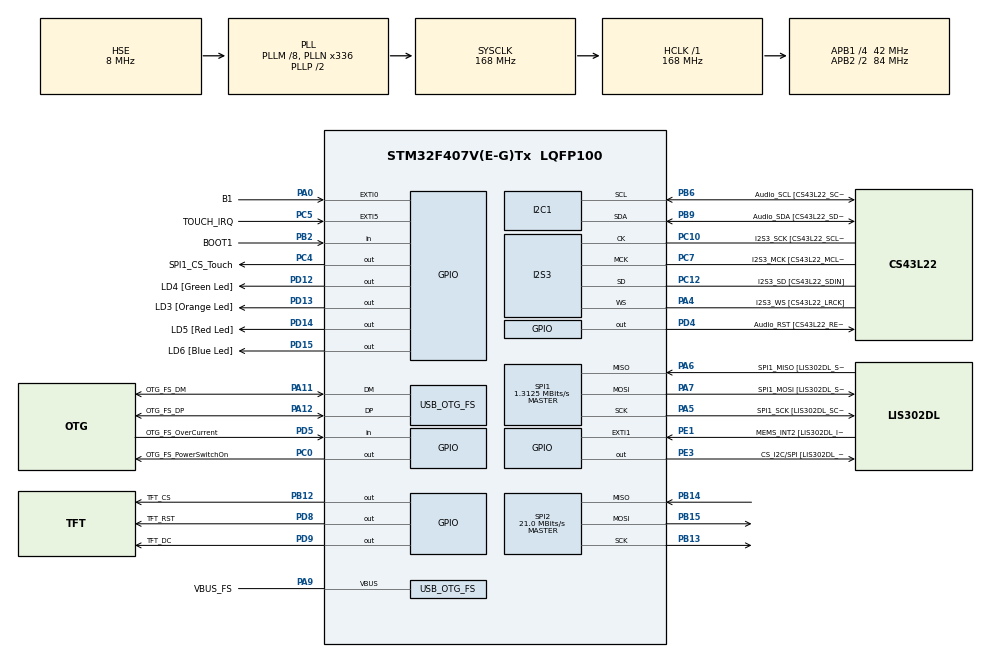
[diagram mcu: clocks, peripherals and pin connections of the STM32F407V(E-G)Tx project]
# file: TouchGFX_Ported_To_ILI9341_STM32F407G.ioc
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PA11.GPIO_Speed=GPIO_SPEED_FREQ_LOW
PD12.GPIO_Label=LD4 [Green Led]
PH0-OSC_IN.Signal=RCC_OSC_IN
PC10.GPIO_PuPd=GPIO_NOPULL
FATFS._USE_LFN=1
SPI1.VirtualType=VM_MASTER
PB10.GPIO_PuPd=GPIO_NOPULL
SPI2.VirtualType=VM_MASTER
PA10.GPIO_PuPd=GPIO_NOPULL
PC12.Signal=I2S3_SD
PA14.GPIO_Label=SWCLK
PA6.GPIO_Label=SPI1_MISO [LIS302DL_SDO]
PB6.GPIO_Label=Audio_SCL [CS43L22_SCL]
PB13.Signal=SPI2_SCK
PC15-OSC32_OUT.GPIO_Label=PC15-OSC32_OUT
Dma.SPI2_TX.0.Instance=DMA1_Stream4
PC3.GPIO_Speed=GPIO_SPEED_FREQ_LOW
RCC.SYSCLKSource=RCC_SYSCLKSOURCE_PLLCLK
PA6.GPIO_Mode=GPIO_MODE_AF_PP
PD14.GPIO_Speed=GPIO_SPEED_FREQ_LOW
PA4.Mode=Half_Duplex_Master
SPI1.Direction=SPI_DIRECTION_2LINES
I2S3.AudioFreq-Half_Duplex_Master=I2S_AUDIOFREQ_96K
PD4.Signal=GPIO_Output
RCC.APB2TimFreq_Value=168000000
PB6.Signal=I2C1_SCL
PC7.Signal=I2S3_MCK
PB6.Mode=I2C
SPI1.CalculateBaudRate=1.3125 MBits/s
PC3.Signal=I2S2_SD
PD8.Signal=GPIO_Output
PE1.Signal=GPXTI1
USB_OTG_FS.phy_itface=HCD_PHY_EMBEDDED
PB2.Signal=GPIO_Input
PB12.GPIO_Label=TFT_CS
I2S3.ErrorAudioFreq=-2.34 %
PC4.GPIO_Label=SPI1_CS_Touch
PB14.Mode=Full_Duplex_Master
PA5.GPIO_PuPd=GPIO_NOPULL
I2S3.ErrorAudioFreq-Half_Duplex_Master=0.8 %
NVIC.TIM2_IRQn=true\:0\:0\:false\:false\:true\:true\:true
SPI2.CalculateBaudRate=21.0 MBits/s
PD5.GPIO_Mode=GPIO_MODE_INPUT
PD14.GPIO_PuPd=GPIO_NOPULL
PB2.GPIO_PuPd=GPIO_NOPULL
SPI1.CalculateBaudRate-Full_Duplex_Master=42.0 MBits/s
Mcu.Package=LQFP100
PB9.Signal=I2C1_SDA
TIM2.Prescaler=41999
SPI2.Mode=SPI_MODE_MASTER
PD12.Signal=GPIO_Output
STMicroelectronics.X-CUBE-TOUCHGFX.4.16.1.ApplicationCcGraphicsJjApplication=TouchGFXOoGenerator
PA10.Signal=USB_OTG_FS_ID
PB9.GPIO_PuPd=GPIO_NOPULL
Dma.SPI2_TX.0.PeriphInc=DMA_PINC_DISABLE
RCC.APB2CLKDivider=RCC_HCLK_DIV2
RCC.APB1TimFreq_Value=84000000
PB13.Mode=Full_Duplex_Master
PC12.GPIO_PuPd=GPIO_NOPULL
PA6.GPIO_Speed=GPIO_SPEED_FREQ_LOW
PA12.GPIO_PuPd=GPIO_NOPULL
VP_LIBJPEG_VS_JPEGLIB.Mode=Enabled
PA4.GPIO_Label=I2S3_WS [CS43L22_LRCK]
PD15.Signal=GPIO_Output
PC0.PinState=GPIO_PIN_SET
STMicroelectronics.X-CUBE-TOUCHGFX.4.16.1.tgfx_block_size=25600
PA5.Mode=Full_Duplex_Master
VP_STMicroelectronics.X-CUBE-TOUCHGFX_VS_GraphicsJjApplication_4.16.1.Mode=GraphicsJjApplication
STMicroelectronics.X-CUBE-TOUCHGFX.4.16.1.tgfx_custom_height=240
I2S3.FullDuplexMode=I2S_FULLDUPLEXMODE_DISABLE
PD9.GPIO_Label=TFT_DC
PC4.PinState=GPIO_PIN_SET
PA9.GPIO_Label=VBUS_FS
PB6.GPIO_PuPd=GPIO_NOPULL
VP_USB_HOST_VS_USB_HOST_MSC_FS.Mode=MSC_FS
PA11.GPIO_Label=OTG_FS_DM
PE1.GPIO_PuPd=GPIO_NOPULL
PC0.Signal=GPIO_Output
RCC.APB1CLKDivider=RCC_HCLK_DIV4
PC14-OSC32_IN.Signal=RCC_OSC32_IN
USB_HOST.USBH_HandleTypeDef-MSC_FS=hUsbHostFS
PA0-WKUP.GPIO_Label=B1
PA0-WKUP.Signal=GPXTI0
USB_HOST0.BSP.STBoard=false
PC10.GPIO_Mode=GPIO_MODE_AF_PP
PB10.GPIO_Mode=GPIO_MODE_AF_PP
PA9.Signal=USB_OTG_FS_VBUS
I2S3.VirtualMode=I2S_MODE_MASTER
PC7.GPIO_PuPd=GPIO_NOPULL
PC5.GPIO_ModeDefaultEXTI=GPIO_MODE_IT_FALLING
PB10.Signal=I2S2_CK
PB14.Signal=SPI2_MISO
PA5.Signal=SPI1_SCK
PC12.Mode=Half_Duplex_Master
PE1.GPIO_Label=MEMS_INT2 [LIS302DL_INT2]
USB_HOST.VirtualModeFS=Msc
PA7.GPIO_Speed=GPIO_SPEED_FREQ_LOW
PB2.GPIO_Mode=GPIO_MODE_INPUT
SPI1.Mode=SPI_MODE_MASTER
PD4.GPIO_Speed=GPIO_SPEED_FREQ_LOW
PE3.GPIO_PuPd=GPIO_NOPULL
PH1-OSC_OUT.GPIO_Label=PH1-OSC_OUT
TIM2.Period=15
FATFS._USE_FIND=1
PA13.Mode=Serial_Wire
Dma.SPI2_TX.0.FIFOMode=DMA_FIFOMODE_DISABLE
PC7.GPIO_Label=I2S3_MCK [CS43L22_MCLK]
PA4.Signal=I2S3_WS
PC12.GPIO_Mode=GPIO_MODE_AF_PP
PA5.GPIO_Label=SPI1_SCK [LIS302DL_SCL/SPC]
PE3.GPIO_Speed=GPIO_SPEED_FREQ_LOW
PC12.GPIO_Label=I2S3_SD [CS43L22_SDIN]
PA11.Signal=USB_OTG_FS_DM
ProjectManager.HeapSize=0x1000
NVIC.PriorityGroup=NVIC_PRIORITYGROUP_0
PE3.Signal=GPIO_Output
PC3.GPIO_Label=PDM_OUT [MP45DT02_DOUT]
I2S3.Instance=SPI$Index
PB6.GPIO_Speed=GPIO_SPEED_FREQ_LOW
SPI1.BaudRatePrescaler-Full_Duplex_Master=SPI_BAUDRATEPRESCALER_2
USB_HOST0.BSP.mode=Output
Mcu.Family=STM32F4
PC3.GPIO_Mode=GPIO_MODE_AF_PP
PA6.Mode=Full_Duplex_Master
Dma.SPI2_TX.0.MemInc=DMA_MINC_ENABLE
RCC.CortexFreq_Value=168000000
PB10.GPIO_Speed=GPIO_SPEED_FREQ_LOW
PB6.GPIO_Mode=GPIO_MODE_AF_OD
STMicroelectronics.X-CUBE-TOUCHGFX.4.16.1.tgfx_buffering_strategy=Partial
PD15.GPIO_Speed=GPIO_SPEED_FREQ_LOW
PC10.Signal=I2S3_CK
PA7.GPIO_Mode=GPIO_MODE_AF_PP
PC0.GPIO_Label=OTG_FS_PowerSwitchOn
PA11.Mode=Host_Only
PC10.GPIO_Speed=GPIO_SPEED_FREQ_LOW
PA11.GPIO_PuPd=GPIO_NOPULL
NVIC.DMA1_Stream4_IRQn=true\:0\:0\:false\:true\:true\:2\:false\:true
PB15.Signal=SPI2_MOSI
ProjectManager.StackSize=0x1000
SPI1.Mode-Full_Duplex_Master=SPI_MODE_MASTER
Dma.SPI2_TX.0.MemDataAlignment=DMA_MDATAALIGN_HALFWORD
PD13.Signal=GPIO_Output
PA12.Signal=USB_OTG_FS_DP
RCC.HCLKFreq_Value=168000000
Dma.SPI2_TX.0.Mode=DMA_NORMAL
USB_HOST0.BSP.ip=GPIO
RCC.AHBFreq_Value=168000000
SPI2.BaudRatePrescaler=SPI_BAUDRATEPRESCALER_2
PH0-OSC_IN.Mode=HSE-External-Oscillator
PE3.PinState=GPIO_PIN_SET
PH0-OSC_IN.GPIO_Label=PH0-OSC_IN
PA9.GPIO_Mode=GPIO_MODE_INPUT
RCC.HSE_VALUE=8000000
PA4.GPIO_PuPd=GPIO_NOPULL
PA4.GPIO_Speed=GPIO_SPEED_FREQ_LOW
PA6.GPIO_PuPd=GPIO_NOPULL
PC14-OSC32_IN.Mode=LSE-External-Oscillator
PA14.Mode=Serial_Wire
PA10.GPIO_Label=OTG_FS_ID
PC7.GPIO_Mode=GPIO_MODE_AF_PP
USB_HOST0.BSP.i2creg=0
PH1-OSC_OUT.Mode=HSE-External-Oscillator
USB_HOST0.BSP.i2caddr=0
PD13.GPIO_Label=LD3 [Orange Led]
PA6.Signal=SPI1_MISO
PD5.GPIO_Label=OTG_FS_OverCurrent
NVIC.OTG_FS_IRQn=true\:0\:0\:false\:false\:true\:true\:true
PD15.GPIO_PuPd=GPIO_NOPULL
USB_OTG_FS.VirtualMode=Host_Only
PA10.GPIO_Speed=GPIO_SPEED_FREQ_LOW
USB_HOST0.BSP.name=Drive_VBUS_FS
PB9.GPIO_Speed=GPIO_SPEED_FREQ_LOW
PC14-OSC32_IN.GPIO_Label=PC14-OSC32_IN
SPI2.Direction=SPI_DIRECTION_2LINES
PC5.Signal=GPXTI5
PC0.GPIO_PuPd=GPIO_NOPULL
Dma.Request0=SPI2_TX
SPI1.BaudRatePrescaler=SPI_BAUDRATEPRESCALER_64
PA12.GPIO_Speed=GPIO_SPEED_FREQ_LOW
PB3.GPIO_Label=SWO
PC15-OSC32_OUT.Mode=LSE-External-Oscillator
PD12.GPIO_Speed=GPIO_SPEED_FREQ_LOW
PD15.GPIO_Label=LD6 [Blue Led]
PA7.Mode=Full_Duplex_Master
PB9.GPIO_Label=Audio_SDA [CS43L22_SDA]
PC10.GPIO_Label=I2S3_SCK [CS43L22_SCLK]
USB_HOST0.BSP.solution=PC0
PC4.Signal=GPIO_Output
PC10.Mode=Half_Duplex_Master
USB_HOST.BSP.number=1
PD9.Signal=GPIO_Output
PD5.Signal=GPIO_Input
PE1.GPIO_ModeDefaultEXTI=GPIO_MODE_EVT_RISING
PA9.GPIO_PuPd=GPIO_NOPULL
PA12.GPIO_Label=OTG_FS_DP
PD8.GPIO_Label=TFT_RST
PA10.GPIO_Mode=GPIO_MODE_AF_PP
STMicroelectronics.X-CUBE-TOUCHGFX.4.16.1.tgfx_custom_width=320
PA13.Signal=SYS_JTMS-SWDIO
PD4.GPIO_PuPd=GPIO_NOPULL
PA9.Mode=Activate_VBUS
PC0.GPIO_Speed=GPIO_SPEED_FREQ_LOW
I2S3.RealAudioFreq-Half_Duplex_Master=96.774 KHz
ProjectManager.TargetToolchain=STM32CubeIDE
PB10.GPIO_Label=CLK_IN [MP45DT02_CLK]
PB9.Mode=I2C
PC15-OSC32_OUT.Signal=RCC_OSC32_OUT
PA7.GPIO_PuPd=GPIO_NOPULL
board=STM32F407G-DISC1
PD13.GPIO_Speed=GPIO_SPEED_FREQ_LOW
PC7.GPIO_Speed=GPIO_SPEED_FREQ_LOW
RCC.VCOOutputFreq_Value=336000000
PB15.Mode=Full_Duplex_Master
PB9.GPIO_Mode=GPIO_MODE_AF_OD
PA12.GPIO_Mode=GPIO_MODE_AF_PP
PA4.GPIO_Mode=GPIO_MODE_AF_PP
RCC.APB2Freq_Value=84000000
USB_HOST0.BSP.api=Unknown
VP_TIM2_VS_ClockSourceINT.Mode=Internal
PD4.GPIO_Label=Audio_RST [CS43L22_RESET]
Dma.SPI2_TX.0.PeriphDataAlignment=DMA_PDATAALIGN_HALFWORD
PH1-OSC_OUT.Signal=RCC_OSC_OUT
PD13.GPIO_PuPd=GPIO_NOPULL
PD5.GPIO_PuPd=GPIO_NOPULL
PD14.GPIO_Label=LD5 [Red Led]
Mcu.Name=STM32F407V(E-G)Tx
PA13.GPIO_Label=SWDIO
PD14.Signal=GPIO_Output
RCC.48MHZClocksFreq_Value=48000000
PB3.Signal=SYS_JTDO-SWO
NVIC.EXTI0_IRQn=true\:0\:0\:false\:false\:true\:true\:true
Dma.SPI2_TX.0.Priority=DMA_PRIORITY_LOW
RCC.SYSCLKFreq_VALUE=168000000
PA7.GPIO_Label=SPI1_MOSI [LIS302DL_SDA/SDI/SDO]
PA12.Mode=Host_Only
PC5.GPIO_Label=TOUCH_IRQ
NVIC.EXTI9_5_IRQn=true\:0\:0\:false\:true\:true\:1\:true\:true
PA14.Signal=SYS_JTCK-SWCLK
PB2.GPIO_Label=BOOT1
VP_FATFS_VS_USB.Mode=USB
RCC.HSI_VALUE=16000000
PA5.GPIO_Speed=GPIO_SPEED_FREQ_LOW
RCC.PLLQ=7
I2S3.RealAudioFreq=93.75 KHz
RCC.PLLM=8
RCC.PLLN=336
PE3.GPIO_Label=CS_I2C/SPI [LIS302DL_CS_I2C/SPI]
PC7.Mode=Master_Clock_Activated
PA11.GPIO_Mode=GPIO_MODE_AF_PP
Dma.SPI2_TX.0.Direction=DMA_MEMORY_TO_PERIPH
RCC.APB1Freq_Value=42000000
PA5.GPIO_Mode=GPIO_MODE_AF_PP
PC12.GPIO_Speed=GPIO_SPEED_FREQ_LOW
VP_CRC_VS_CRC.Mode=CRC_Activate
PB12.Signal=GPIO_Output
PC3.GPIO_PuPd=GPIO_NOPULL
PD12.GPIO_PuPd=GPIO_NOPULL
PA7.Signal=SPI1_MOSI
USB_HOST0.BSP.instance=PC0

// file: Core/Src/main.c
/* USER CODE BEGIN Header */
/**
  ******************************************************************************
  * @file           : main.c
  * @brief          : Main program body
  ******************************************************************************
  * @attention
  *
  * <h2><center>&copy; Copyright (c) 2021 STMicroelectronics.
  * All rights reserved.</center></h2>
  *
  * This software component is licensed by ST under Ultimate Liberty license
  * SLA0044, the "License"; You may not use this file except in compliance with
  * the License. You may obtain a copy of the License at:
  *                             www.st.com/SLA0044
  *
  ******************************************************************************
  */
/* USER CODE END Header */
#include "main.h"
#include "crc.h"
#include "dma.h"
#include "fatfs.h"
#include "i2c.h"
#include "i2s.h"
#include "libjpeg.h"
#include "spi.h"
#include "tim.h"
#include "usb_host.h"
#include "gpio.h"
#include "app_touchgfx.h"

/* USER CODE BEGIN Includes */

#include "../ili9341/core.h"

#include "logo.h"

#include "../../XPT2046/XPT2046.h"

#include "BMPXX80.h"

/* USER CODE END Includes */

void SystemClock_Config(void);
static void MX_NVIC_Init(void);
void MX_USB_HOST_Process(void);

/* USER CODE BEGIN 0 */
extern void touchgfxSignalVSync(void);

void HAL_TIM_PeriodElapsedCallback(TIM_HandleTypeDef *htim)
{
	if (htim->Instance == TIM2) {
		touchgfxSignalVSync();  //i'am dk why but i turned off the vSync in Cube but i still have to get infi :/
	}
}

float temperature;
int32_t  pressure;

/* USER CODE END 0 */

int main(void)
{

  /* MCU Configuration--------------------------------------------------------*/

  /* Reset of all peripherals, Initializes the Flash interface and the Systick. */
  HAL_Init();

  /* Configure the system clock */
  SystemClock_Config();

  /* Initialize all configured peripherals */
  MX_GPIO_Init();
  MX_DMA_Init();
  MX_I2C1_Init();
  MX_I2S3_Init();
  MX_SPI1_Init();
  MX_USB_HOST_Init();
  MX_SPI2_Init();
  MX_FATFS_Init();
  MX_LIBJPEG_Init();
  MX_CRC_Init();
  MX_TIM2_Init();
  MX_TouchGFX_Init();

  /* Initialize interrupts */
  MX_NVIC_Init();
  /* USER CODE BEGIN 2 */
  HAL_TIM_Base_Start_IT(&htim2);

  ILI9341_Init();
  XPT2046_Init(&hspi1, EXTI9_5_IRQn);

  uint32_t LedTim0;
  touchgfxSignalVSync();

  //BMP280_Init(&hi2c1, BMP280_TEMPERATURE_16BIT, BMP280_STANDARD, BMP280_FORCEDMODE);

  //BMP280_ReadTemperatureAndPressure(&temperature, &pressure);
  /* USER CODE END 2 */

  /* Infinite loop */
  /* USER CODE BEGIN WHILE */
  while (1)
  {
	  if(HAL_GetTick()- LedTim0> 100)
	  {
		  LedTim0=HAL_GetTick();
	      HAL_GPIO_TogglePin(LD5_GPIO_Port, LD5_Pin);
	  }

	  XPT2046_Task();
    /* USER CODE END WHILE */
    MX_USB_HOST_Process();

  MX_TouchGFX_Process();
  }
}

void SystemClock_Config(void)
{
  RCC_OscInitTypeDef RCC_OscInitStruct = {0};
  RCC_ClkInitTypeDef RCC_ClkInitStruct = {0};
  RCC_PeriphCLKInitTypeDef PeriphClkInitStruct = {0};

  /** Configure the main internal regulator output voltage
  */
  __HAL_RCC_PWR_CLK_ENABLE();
  __HAL_PWR_VOLTAGESCALING_CONFIG(PWR_REGULATOR_VOLTAGE_SCALE1);
  /** Initializes the RCC Oscillators according to the specified parameters
  * in the RCC_OscInitTypeDef structure.
  */
  RCC_OscInitStruct.OscillatorType = RCC_OSCILLATORTYPE_HSE;
  RCC_OscInitStruct.HSEState = RCC_HSE_ON;
  RCC_OscInitStruct.PLL.PLLState = RCC_PLL_ON;
  RCC_OscInitStruct.PLL.PLLSource = RCC_PLLSOURCE_HSE;
  RCC_OscInitStruct.PLL.PLLM = 8;
  RCC_OscInitStruct.PLL.PLLN = 336;
  RCC_OscInitStruct.PLL.PLLP = RCC_PLLP_DIV2;
  RCC_OscInitStruct.PLL.PLLQ = 7;
  if (HAL_RCC_OscConfig(&RCC_OscInitStruct) != HAL_OK)
  {
    Error_Handler();
  }
  /** Initializes the CPU, AHB and APB buses clocks
  */
  RCC_ClkInitStruct.ClockType = RCC_CLOCKTYPE_HCLK|RCC_CLOCKTYPE_SYSCLK
                              |RCC_CLOCKTYPE_PCLK1|RCC_CLOCKTYPE_PCLK2;
  RCC_ClkInitStruct.SYSCLKSource = RCC_SYSCLKSOURCE_PLLCLK;
  RCC_ClkInitStruct.AHBCLKDivider = RCC_SYSCLK_DIV1;
  RCC_ClkInitStruct.APB1CLKDivider = RCC_HCLK_DIV4;
  RCC_ClkInitStruct.APB2CLKDivider = RCC_HCLK_DIV2;

  if (HAL_RCC_ClockConfig(&RCC_ClkInitStruct, FLASH_LATENCY_5) != HAL_OK)
  {
    Error_Handler();
  }
  PeriphClkInitStruct.PeriphClockSelection = RCC_PERIPHCLK_I2S;
  PeriphClkInitStruct.PLLI2S.PLLI2SN = 192;
  PeriphClkInitStruct.PLLI2S.PLLI2SR = 2;
  if (HAL_RCCEx_PeriphCLKConfig(&PeriphClkInitStruct) != HAL_OK)
  {
    Error_Handler();
  }
}

/**
  * @brief NVIC Configuration.
  * @retval None
  */
static void MX_NVIC_Init(void)
{
  /* EXTI9_5_IRQn interrupt configuration */
  HAL_NVIC_SetPriority(EXTI9_5_IRQn, 0, 0);
  HAL_NVIC_EnableIRQ(EXTI9_5_IRQn);
  /* DMA1_Stream4_IRQn interrupt configuration */
  NVIC_SetPriority(DMA1_Stream4_IRQn, NVIC_EncodePriority(NVIC_GetPriorityGrouping(),0, 0));
  NVIC_EnableIRQ(DMA1_Stream4_IRQn);
}

/* USER CODE BEGIN 4 */
volatile uint32_t userButtonPressed = 0;

void HAL_GPIO_EXTI_Callback(uint16_t GPIO_Pin)
{
	if(GPIO_Pin == TOUCH_IRQ_Pin)
	{
		XPT2046_IRQ();
	}
	if (GPIO_Pin == GPIO_PIN_0)
	{
	userButtonPressed = 1;
	}
}
/* USER CODE END 4 */

void Error_Handler(void)
{
  __disable_irq();
  while (1)
  {
  }
}

/************************ (C) COPYRIGHT STMicroelectronics *****END OF FILE****/
